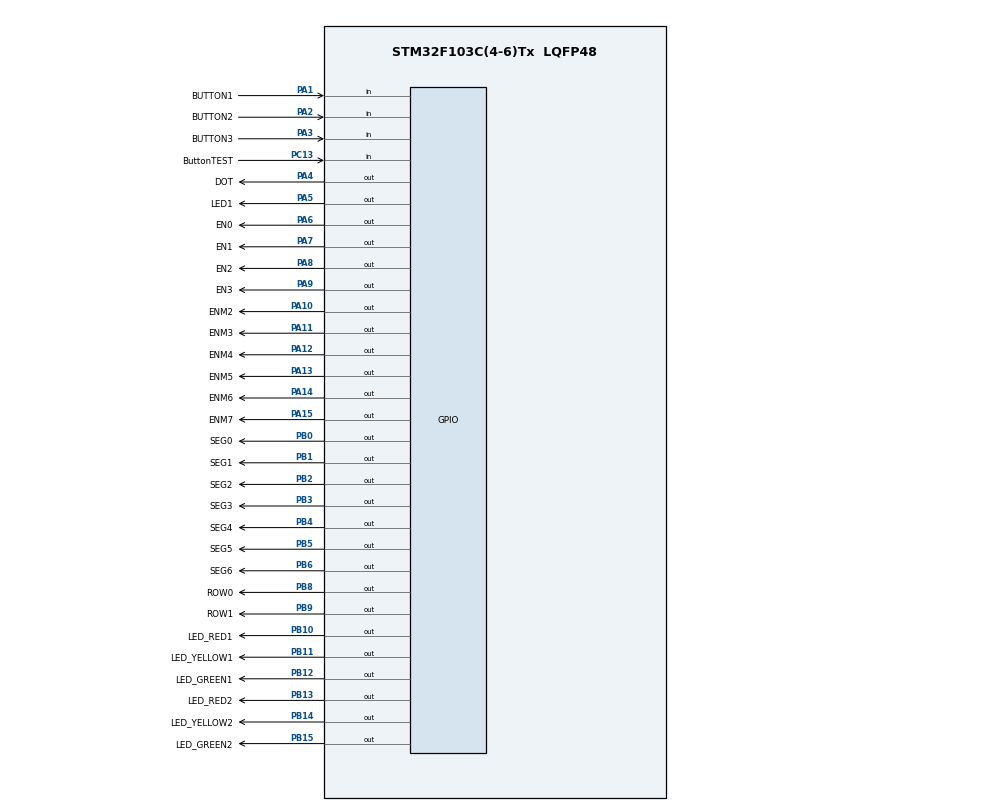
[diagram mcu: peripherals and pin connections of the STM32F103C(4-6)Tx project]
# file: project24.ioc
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Mcu.Family=STM32F1
Mcu.Name=STM32F103C(4-6)Tx
Mcu.Package=LQFP48
NVIC.PriorityGroup=NVIC_PRIORITYGROUP_4
NVIC.TIM2_IRQn=true\:0\:0\:false\:false\:true\:true\:true\:true
PA1.GPIO_Label=BUTTON1
PA1.GPIO_PuPd=GPIO_PULLUP
PA1.Signal=GPIO_Input
PA10.GPIO_Label=ENM2
PA10.Signal=GPIO_Output
PA11.GPIO_Label=ENM3
PA11.Signal=GPIO_Output
PA12.GPIO_Label=ENM4
PA12.Signal=GPIO_Output
PA13.GPIO_Label=ENM5
PA13.Signal=GPIO_Output
PA14.GPIO_Label=ENM6
PA14.Signal=GPIO_Output
PA15.GPIO_Label=ENM7
PA15.Signal=GPIO_Output
PA2.GPIO_Label=BUTTON2
PA2.GPIO_PuPd=GPIO_PULLUP
PA2.Signal=GPIO_Input
PA3.GPIO_Label=BUTTON3
PA3.GPIO_PuPd=GPIO_PULLUP
PA3.Signal=GPIO_Input
PA4.GPIO_Label=DOT
PA4.Signal=GPIO_Output
PA5.GPIO_Label=LED1
PA5.Signal=GPIO_Output
PA6.GPIO_Label=EN0
PA6.Signal=GPIO_Output
PA7.GPIO_Label=EN1
PA7.Signal=GPIO_Output
PA8.GPIO_Label=EN2
PA8.Signal=GPIO_Output
PA9.GPIO_Label=EN3
PA9.Signal=GPIO_Output
PB0.GPIO_Label=SEG0
PB0.Signal=GPIO_Output
PB1.GPIO_Label=SEG1
PB1.Signal=GPIO_Output
PB10.GPIO_Label=LED_RED1
PB10.Signal=GPIO_Output
PB11.GPIO_Label=LED_YELLOW1
PB11.Signal=GPIO_Output
PB12.GPIO_Label=LED_GREEN1
PB12.Signal=GPIO_Output
PB13.GPIO_Label=LED_RED2
PB13.Signal=GPIO_Output
PB14.GPIO_Label=LED_YELLOW2
PB14.Signal=GPIO_Output
PB15.GPIO_Label=LED_GREEN2
PB15.Signal=GPIO_Output
PB2.GPIO_Label=SEG2
PB2.Signal=GPIO_Output
PB3.GPIO_Label=SEG3
PB3.Signal=GPIO_Output
PB4.GPIO_Label=SEG4
PB4.Signal=GPIO_Output
PB5.GPIO_Label=SEG5
PB5.Signal=GPIO_Output
PB6.GPIO_Label=SEG6
PB6.Signal=GPIO_Output
PB8.GPIO_Label=ROW0
PB8.Signal=GPIO_Output
PB9.GPIO_Label=ROW1
PB9.Signal=GPIO_Output
PC13-TAMPER-RTC.GPIO_Label=ButtonTEST
PC13-TAMPER-RTC.GPIO_PuPd=GPIO_PULLUP
PC13-TAMPER-RTC.Signal=GPIO_Input
ProjectManager.HeapSize=0x200
ProjectManager.StackSize=0x400
ProjectManager.TargetToolchain=STM32CubeIDE
RCC.APB1Freq_Value=8000000
RCC.APB2Freq_Value=8000000
TIM2.Period=9
TIM2.Prescaler=7999
VP_TIM2_VS_ClockSourceINT.Mode=Internal
board=custom

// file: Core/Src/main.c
/* USER CODE BEGIN Header */
/**
  ******************************************************************************
  * @file           : main.c
  * @brief          : Main program body
  ******************************************************************************
  * @attention
  *
  * Copyright (c) 2022 STMicroelectronics.
  * All rights reserved.
  *
  * This software is licensed under terms that can be found in the LICENSE file
  * in the root directory of this software component.
  * If no LICENSE file comes with this software, it is provided AS-IS.
  *
  ******************************************************************************
  */
/* USER CODE END Header */

/* USER CODE BEGIN Includes */
/*
#include "fsm_automatic.h"
#include "fsm_manual.h"
#include "global.h"
#include "traffic_timer.h"
#include "7segment_led.h"

*/

#include "global.h"
#include "fsm_manual.h"
#include "7segment_led.h"
/* USER CODE END Includes */

TIM_HandleTypeDef htim2;

void SystemClock_Config(void);
static void MX_GPIO_Init(void);
static void MX_TIM2_Init(void);

int main(void)
{

  /* MCU Configuration--------------------------------------------------------*/

  /* Reset of all peripherals, Initializes the Flash interface and the Systick. */
  HAL_Init();

  /* Configure the system clock */
  SystemClock_Config();

  /* Initialize all configured peripherals */
  MX_GPIO_Init();
  MX_TIM2_Init();
  /* USER CODE BEGIN 2 */
  HAL_TIM_Base_Start_IT(&htim2);

  /* USER CODE END 2 */

  /* Infinite loop */
  /* USER CODE BEGIN WHILE */

  setTimer1(1000);		//timer cho Blinky Led
  setTimer3(1000);		//timer cho 7segment dem nguoc
  setTimer4(100);		//timer cap nhat 7SEG

  while (1)
  {

	  fsm_simple_buttons_run();

	  //Blinky LED
	  if (timer1_flag == 1){
		  setTimer1(1000);
		  HAL_GPIO_TogglePin(LED1_GPIO_Port, LED1_Pin);
	  }

	  //Cap nhat so hien thi tren 7SEG
	  if (timer4_flag == 1){
		  setTimer4(100);
		  update7SEG();
	  }

    /* USER CODE END WHILE */

  }
}

void SystemClock_Config(void)
{
  RCC_OscInitTypeDef RCC_OscInitStruct = {0};
  RCC_ClkInitTypeDef RCC_ClkInitStruct = {0};

  /** Initializes the RCC Oscillators according to the specified parameters
  * in the RCC_OscInitTypeDef structure.
  */
  RCC_OscInitStruct.OscillatorType = RCC_OSCILLATORTYPE_HSI;
  RCC_OscInitStruct.HSIState = RCC_HSI_ON;
  RCC_OscInitStruct.HSICalibrationValue = RCC_HSICALIBRATION_DEFAULT;
  RCC_OscInitStruct.PLL.PLLState = RCC_PLL_NONE;
  if (HAL_RCC_OscConfig(&RCC_OscInitStruct) != HAL_OK)
  {
    Error_Handler();
  }

  /** Initializes the CPU, AHB and APB buses clocks
  */
  RCC_ClkInitStruct.ClockType = RCC_CLOCKTYPE_HCLK|RCC_CLOCKTYPE_SYSCLK
                              |RCC_CLOCKTYPE_PCLK1|RCC_CLOCKTYPE_PCLK2;
  RCC_ClkInitStruct.SYSCLKSource = RCC_SYSCLKSOURCE_HSI;
  RCC_ClkInitStruct.AHBCLKDivider = RCC_SYSCLK_DIV1;
  RCC_ClkInitStruct.APB1CLKDivider = RCC_HCLK_DIV1;
  RCC_ClkInitStruct.APB2CLKDivider = RCC_HCLK_DIV1;

  if (HAL_RCC_ClockConfig(&RCC_ClkInitStruct, FLASH_LATENCY_0) != HAL_OK)
  {
    Error_Handler();
  }
}

static void MX_TIM2_Init(void)
{

  TIM_ClockConfigTypeDef sClockSourceConfig = {0};
  TIM_MasterConfigTypeDef sMasterConfig = {0};

  htim2.Instance = TIM2;
  htim2.Init.Prescaler = 7999;
  htim2.Init.CounterMode = TIM_COUNTERMODE_UP;
  htim2.Init.Period = 9;
  htim2.Init.ClockDivision = TIM_CLOCKDIVISION_DIV1;
  htim2.Init.AutoReloadPreload = TIM_AUTORELOAD_PRELOAD_DISABLE;
  if (HAL_TIM_Base_Init(&htim2) != HAL_OK)
  {
    Error_Handler();
  }
  sClockSourceConfig.ClockSource = TIM_CLOCKSOURCE_INTERNAL;
  if (HAL_TIM_ConfigClockSource(&htim2, &sClockSourceConfig) != HAL_OK)
  {
    Error_Handler();
  }
  sMasterConfig.MasterOutputTrigger = TIM_TRGO_RESET;
  sMasterConfig.MasterSlaveMode = TIM_MASTERSLAVEMODE_DISABLE;
  if (HAL_TIMEx_MasterConfigSynchronization(&htim2, &sMasterConfig) != HAL_OK)
  {
    Error_Handler();
  }

}

static void MX_GPIO_Init(void)
{
  GPIO_InitTypeDef GPIO_InitStruct = {0};

  /* GPIO Ports Clock Enable */
  __HAL_RCC_GPIOC_CLK_ENABLE();
  __HAL_RCC_GPIOA_CLK_ENABLE();
  __HAL_RCC_GPIOB_CLK_ENABLE();

  /*Configure GPIO pin Output Level */
  HAL_GPIO_WritePin(GPIOA, DOT_Pin|LED1_Pin|EN0_Pin|EN1_Pin
                          |EN2_Pin|EN3_Pin|ENM2_Pin|ENM3_Pin
                          |ENM4_Pin|ENM5_Pin|ENM6_Pin|ENM7_Pin, GPIO_PIN_RESET);

  /*Configure GPIO pin Output Level */
  HAL_GPIO_WritePin(GPIOB, SEG0_Pin|SEG1_Pin|SEG2_Pin|LED_RED1_Pin
                          |LED_YELLOW1_Pin|LED_GREEN1_Pin|LED_RED2_Pin|LED_YELLOW2_Pin
                          |LED_GREEN2_Pin|SEG3_Pin|SEG4_Pin|SEG5_Pin
                          |SEG6_Pin|ROW0_Pin|ROW1_Pin, GPIO_PIN_RESET);

  /*Configure GPIO pin : ButtonTEST_Pin */
  GPIO_InitStruct.Pin = ButtonTEST_Pin;
  GPIO_InitStruct.Mode = GPIO_MODE_INPUT;
  GPIO_InitStruct.Pull = GPIO_PULLUP;
  HAL_GPIO_Init(ButtonTEST_GPIO_Port, &GPIO_InitStruct);

  /*Configure GPIO pins : BUTTON1_Pin BUTTON2_Pin BUTTON3_Pin */
  GPIO_InitStruct.Pin = BUTTON1_Pin|BUTTON2_Pin|BUTTON3_Pin;
  GPIO_InitStruct.Mode = GPIO_MODE_INPUT;
  GPIO_InitStruct.Pull = GPIO_PULLUP;
  HAL_GPIO_Init(GPIOA, &GPIO_InitStruct);

  /*Configure GPIO pins : DOT_Pin LED1_Pin EN0_Pin EN1_Pin
                           EN2_Pin EN3_Pin ENM2_Pin ENM3_Pin
                           ENM4_Pin ENM5_Pin ENM6_Pin ENM7_Pin */
  GPIO_InitStruct.Pin = DOT_Pin|LED1_Pin|EN0_Pin|EN1_Pin
                          |EN2_Pin|EN3_Pin|ENM2_Pin|ENM3_Pin
                          |ENM4_Pin|ENM5_Pin|ENM6_Pin|ENM7_Pin;
  GPIO_InitStruct.Mode = GPIO_MODE_OUTPUT_PP;
  GPIO_InitStruct.Pull = GPIO_NOPULL;
  GPIO_InitStruct.Speed = GPIO_SPEED_FREQ_LOW;
  HAL_GPIO_Init(GPIOA, &GPIO_InitStruct);

  /*Configure GPIO pins : SEG0_Pin SEG1_Pin SEG2_Pin LED_RED1_Pin
                           LED_YELLOW1_Pin LED_GREEN1_Pin LED_RED2_Pin LED_YELLOW2_Pin
                           LED_GREEN2_Pin SEG3_Pin SEG4_Pin SEG5_Pin
                           SEG6_Pin ROW0_Pin ROW1_Pin */
  GPIO_InitStruct.Pin = SEG0_Pin|SEG1_Pin|SEG2_Pin|LED_RED1_Pin
                          |LED_YELLOW1_Pin|LED_GREEN1_Pin|LED_RED2_Pin|LED_YELLOW2_Pin
                          |LED_GREEN2_Pin|SEG3_Pin|SEG4_Pin|SEG5_Pin
                          |SEG6_Pin|ROW0_Pin|ROW1_Pin;
  GPIO_InitStruct.Mode = GPIO_MODE_OUTPUT_PP;
  GPIO_InitStruct.Pull = GPIO_NOPULL;
  GPIO_InitStruct.Speed = GPIO_SPEED_FREQ_LOW;
  HAL_GPIO_Init(GPIOB, &GPIO_InitStruct);

}

/* USER CODE BEGIN 4 */

void HAL_TIM_PeriodElapsedCallback(TIM_HandleTypeDef *htim){
	timerRun();
	getKeyInput1();
	getKeyInput2();
	getKeyInput3();

}

/* USER CODE END 4 */

void Error_Handler(void)
{
  __disable_irq();
  while (1)
  {
  }
}
